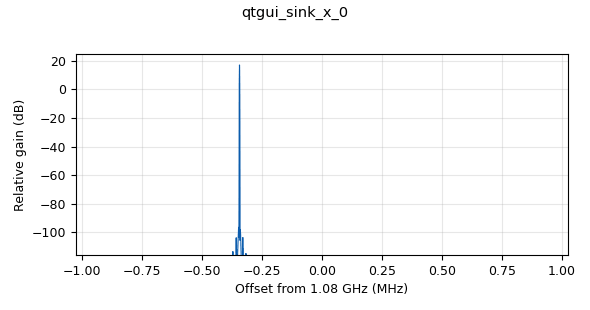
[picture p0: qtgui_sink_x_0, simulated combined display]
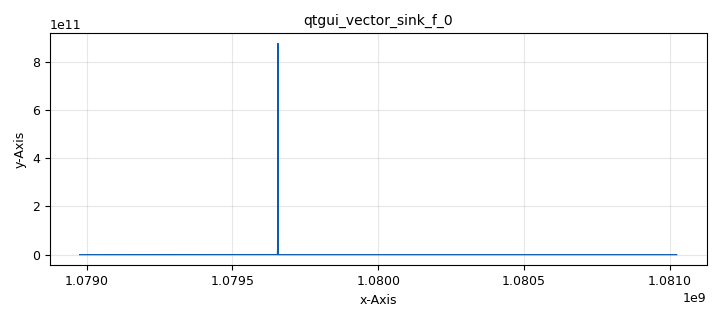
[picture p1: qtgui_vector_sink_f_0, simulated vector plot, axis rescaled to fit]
options:
  parameters:
    author: LUCIANO BAROSI
    copyright: MIT
    generate_options: qt_gui
    id: PFB_Spectrometer_tcp
    output_language: python
    run_options: run
    title: Spectrometer
  states: {}

blocks:
- name: csv
  id: variable
  parameters:
    value: 'False'
  states: {}
- name: custom_window
  id: variable
  parameters:
    value: sinc*np.hamming(4*vec_length)
  states: {}
- name: fit
  id: variable
  parameters:
    value: 'True'
  states: {}
- name: freq
  id: variable
  parameters:
    value: 1080e6
  states: {}
- name: gain
  id: variable
  parameters:
    value: '50'
  states: {}
- name: mode
  id: variable
  parameters:
    value: '"01"'
  states: {}
- name: n_integration
  id: variable
  parameters:
    value: '1000'
  states: {}
- name: n_samples
  id: variable
  parameters:
    value: '100'
  states: {}
- name: name
  id: variable
  parameters:
    value: '"BINGO"'
  states: {}
- name: prefix
  id: variable
  parameters:
    value: '"../data/raw/GNURADIO/radioCBN"'
  states: {}
- name: rtl_string
  id: variable
  parameters:
    value: '"rtl=0"'
  states: {}
- name: samp_rate
  id: variable
  parameters:
    value: 2.048e6
  states: {}
- name: sinc
  id: variable
  parameters:
    value: np.sinc(sinc_sample_locations/np.pi)
  states: {}
- name: sinc_sample_locations
  id: variable
  parameters:
    value: np.arange(-np.pi*4/2.0, np.pi*4/2.0, np.pi/vec_length)
  states: {}
- name: vec_length
  id: variable
  parameters:
    value: '4096'
  states: {}
- name: analog_noise_source_x_0
  id: analog_noise_source_x
  parameters:
    amp: '0'
    noise_type: analog.GR_GAUSSIAN
    seed: '0'
    type: complex
  states: {}
- name: analog_sig_source_x_0
  id: analog_sig_source_x
  parameters:
    amp: '20'
    freq: 1081e6
    offset: '0'
    phase: '0'
    samp_rate: samp_rate
    type: complex
    waveform: analog.GR_SIN_WAVE
  states: {}
- name: blocks_add_xx_0
  id: blocks_add_xx
  parameters:
    num_inputs: '4'
    type: complex
    vlen: vec_length
  states: {}
- name: blocks_add_xx_1
  id: blocks_add_xx
  parameters:
    type: complex
  states: {}
- name: blocks_complex_to_mag_squared_0
  id: blocks_complex_to_mag_squared
  parameters:
    vlen: vec_length
  states: {}
- name: blocks_correctiq_0
  id: blocks_correctiq
  parameters: {}
  states: {state: disabled}
- name: blocks_delay_0
  id: blocks_delay
  parameters:
    delay: vec_length
    type: complex
  states: {}
- name: blocks_delay_0_0
  id: blocks_delay
  parameters:
    delay: 2*vec_length
    type: complex
  states: {}
- name: blocks_delay_0_0_0
  id: blocks_delay
  parameters:
    delay: 3*vec_length
    type: complex
  states: {}
- name: blocks_integrate_xx_0_0_0
  id: blocks_integrate_xx
  parameters:
    decim: n_integration
    type: float
    vlen: vec_length
  states: {}
- name: blocks_multiply_const_vxx_0
  id: blocks_multiply_const_vxx
  parameters:
    const: custom_window[-vec_length:]
    type: complex
    vlen: vec_length
  states: {}
- name: blocks_multiply_const_vxx_0_0
  id: blocks_multiply_const_vxx
  parameters:
    const: custom_window[2*vec_length:3*vec_length]
    type: complex
    vlen: vec_length
  states: {}
- name: blocks_multiply_const_vxx_0_0_0
  id: blocks_multiply_const_vxx
  parameters:
    const: custom_window[1*vec_length:2*vec_length]
    type: complex
    vlen: vec_length
  states: {}
- name: blocks_multiply_const_vxx_0_0_0_0
  id: blocks_multiply_const_vxx
  parameters:
    const: custom_window[0:vec_length]
    type: complex
    vlen: vec_length
  states: {}
- name: blocks_stream_to_vector_0
  id: blocks_stream_to_vector
  parameters:
    num_items: vec_length
    type: complex
  states: {}
- name: blocks_stream_to_vector_0_0
  id: blocks_stream_to_vector
  parameters:
    num_items: vec_length
    type: complex
  states: {}
- name: blocks_stream_to_vector_0_0_0
  id: blocks_stream_to_vector
  parameters:
    num_items: vec_length
    type: complex
  states: {}
- name: blocks_stream_to_vector_0_0_0_0
  id: blocks_stream_to_vector
  parameters:
    num_items: vec_length
    type: complex
  states: {}
- name: blocks_throttle_0
  id: blocks_throttle
  parameters:
    samples_per_second: vec_length
    type: complex
  states: {}
- name: fft_vxx_0
  id: fft_vxx
  parameters:
    fft_size: vec_length
    forward: 'True'
    shift: 'True'
    type: complex
    window: window.blackmanharris(vec_length)
  states: {}
- name: fits_sink_fits_sink_0
  id: fits_sink_fits_sink
  parameters:
    csv: csv
    fit: fit
    freq: freq
    mode: mode
    n_samples: n_samples
    prefix: prefix
    samp_rate: samp_rate
    vec_length: vec_length
  states: {state: disabled}
- name: import_0
  id: import
  parameters:
    imports: import numpy as np
  states: {}
- name: osmosdr_source_0
  id: osmosdr_source
  parameters:
    args: rtl_string
    bb_gain0: '20'
    freq0: freq
    gain0: '10'
    gain_mode0: 'False'
    if_gain0: '20'
    sample_rate: samp_rate
    sync: sync
    type: fc32
  states: {state: disabled}
- name: qtgui_sink_x_0
  id: qtgui_sink_x
  parameters:
    bw: samp_rate
    fc: freq
    fftsize: vec_length
    plotconst: 'False'
    plottime: 'False'
    showrf: 'True'
    type: complex
  states: {}
- name: qtgui_vector_sink_f_0
  id: qtgui_vector_sink_f
  parameters:
    grid: 'True'
    vlen: vec_length
    x_start: freq - samp_rate/2
    x_step: samp_rate/vec_length
    ymin: '0'
  states: {}

connections:
- [analog_noise_source_x_0, '0', blocks_add_xx_1, '1']
- [analog_sig_source_x_0, '0', blocks_add_xx_1, '0']
- [blocks_add_xx_0, '0', fft_vxx_0, '0']
- [blocks_add_xx_1, '0', blocks_throttle_0, '0']
- [blocks_complex_to_mag_squared_0, '0', blocks_integrate_xx_0_0_0, '0']
- [blocks_correctiq_0, '0', blocks_delay_0, '0']
- [blocks_correctiq_0, '0', blocks_delay_0_0, '0']
- [blocks_correctiq_0, '0', blocks_delay_0_0_0, '0']
- [blocks_correctiq_0, '0', blocks_stream_to_vector_0, '0']
- [blocks_correctiq_0, '0', qtgui_sink_x_0, '0']
- [blocks_delay_0, '0', blocks_stream_to_vector_0_0, '0']
- [blocks_delay_0_0, '0', blocks_stream_to_vector_0_0_0, '0']
- [blocks_delay_0_0_0, '0', blocks_stream_to_vector_0_0_0_0, '0']
- [blocks_integrate_xx_0_0_0, '0', fits_sink_fits_sink_0, '0']
- [blocks_integrate_xx_0_0_0, '0', qtgui_vector_sink_f_0, '0']
- [blocks_multiply_const_vxx_0, '0', blocks_add_xx_0, '0']
- [blocks_multiply_const_vxx_0_0, '0', blocks_add_xx_0, '1']
- [blocks_multiply_const_vxx_0_0_0, '0', blocks_add_xx_0, '2']
- [blocks_multiply_const_vxx_0_0_0_0, '0', blocks_add_xx_0, '3']
- [blocks_stream_to_vector_0, '0', blocks_multiply_const_vxx_0, '0']
- [blocks_stream_to_vector_0_0, '0', blocks_multiply_const_vxx_0_0, '0']
- [blocks_stream_to_vector_0_0_0, '0', blocks_multiply_const_vxx_0_0_0, '0']
- [blocks_stream_to_vector_0_0_0_0, '0', blocks_multiply_const_vxx_0_0_0_0, '0']
- [blocks_throttle_0, '0', blocks_delay_0, '0']
- [blocks_throttle_0, '0', blocks_delay_0_0, '0']
- [blocks_throttle_0, '0', blocks_delay_0_0_0, '0']
- [blocks_throttle_0, '0', blocks_stream_to_vector_0, '0']
- [blocks_throttle_0, '0', qtgui_sink_x_0, '0']
- [fft_vxx_0, '0', blocks_complex_to_mag_squared_0, '0']
- [osmosdr_source_0, '0', blocks_correctiq_0, '0']

metadata:
  file_format: 1
  grc_version: 3.10.2.0
